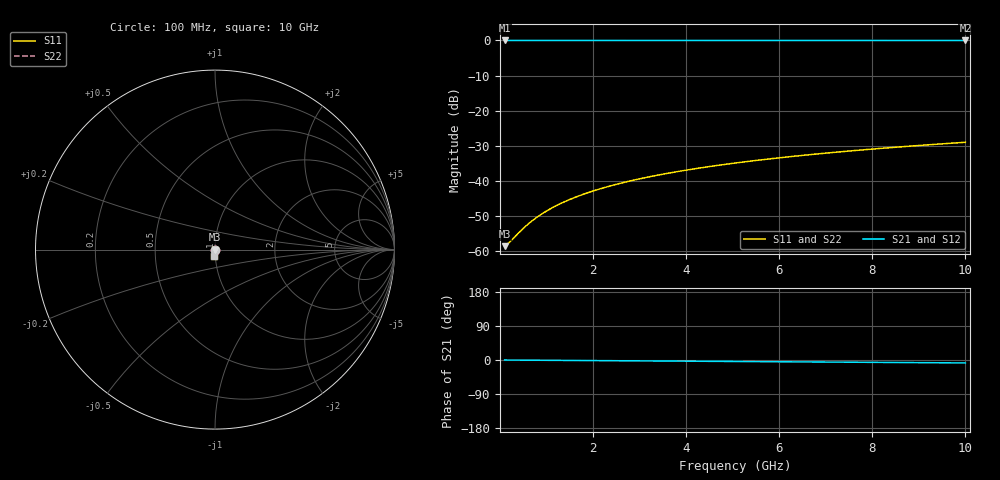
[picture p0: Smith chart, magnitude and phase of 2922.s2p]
# Hz S RI R 50.00
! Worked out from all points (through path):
!   100 points, 100 MHz to 10 GHz, reference 50 ohm
!   highest |S21| = -0.01 dB at 100 MHz (marker M1); lowest = 0.0 dB at 10 GHz (marker M2)
!   group delay of S21, straight-line fit = 2.15 ps
!   lowest |S11| = -58.5 dB at 100 MHz (marker M3), VSWR 1.00, Z = 50.1 - j0.0358 ohm
!   |S11| at or under -10 dB: start of sweep to end of sweep
!   |S22| runs from -58.5 to -29.0 dB; largest |S21 - S12| = 0
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1e8  0.00113 -0.000358  0.9989 -0.00135  0.9989 -0.00135  0.00113 -0.000358
2e8  0.00114 -0.000715  0.9989 -0.00269  0.9989 -0.00269  0.00114 -0.000715
4e8  0.00114 -0.00143  0.9988 -0.00539  0.9988 -0.00539  0.00114 -0.00143
5e8  0.00114 -0.00179  0.9988 -0.00673  0.9988 -0.00673  0.00114 -0.00179
6e8  0.00113 -0.00215  0.9988 -0.00808  0.9988 -0.00808  0.00113 -0.00215
7e8  0.00113 -0.0025  0.9988 -0.00943  0.9988 -0.00943  0.00113 -0.0025
9e8  0.00112 -0.00322  0.9987 -0.0121  0.9987 -0.0121  0.00112 -0.00322
1.1e9  0.0011 -0.00393  0.9987 -0.0148  0.9987 -0.0148  0.0011 -0.00393
1.3e9  0.00108 -0.00465  0.9986 -0.0175  0.9986 -0.0175  0.00108 -0.00465
1.5e9  0.00106 -0.00536  0.9986 -0.0202  0.9986 -0.0202  0.00106 -0.00536
1.8e9  0.00101 -0.00643  0.9985 -0.0242  0.9985 -0.0242  0.00101 -0.00643
2.1e9  0.00096 -0.00751  0.9984 -0.0283  0.9984 -0.0283  0.00096 -0.00751
2.5e9  0.000875 -0.00893  0.9982 -0.0337  0.9982 -0.0337  0.000875 -0.00893
2.9e9  0.000774 -0.0104  0.998 -0.039  0.998 -0.039  0.000774 -0.0104
3.4e9  0.000626 -0.0121  0.9976 -0.0458  0.9976 -0.0458  0.000626 -0.0121
4.2e9  0.000338 -0.015  0.997 -0.0565  0.997 -0.0565  0.000338 -0.015
5.1e9  -5.95e-05 -0.0182  0.9962 -0.0686  0.9962 -0.0686  -5.95e-05 -0.0182
5.9e9  -0.000478 -0.021  0.9953 -0.0794  0.9953 -0.0794  -0.000478 -0.021
6.7e9  -0.000958 -0.0239  0.9943 -0.0901  0.9943 -0.0901  -0.000958 -0.0239
7.5e9  -0.0015 -0.0267  0.9932 -0.1008  0.9932 -0.1008  -0.0015 -0.0267
8.4e9  -0.00218 -0.0298  0.9918 -0.1129  0.9918 -0.1129  -0.00218 -0.0298
1e10  -0.00358 -0.0354  0.9889 -0.1342  0.9889 -0.1342  -0.00358 -0.0354
